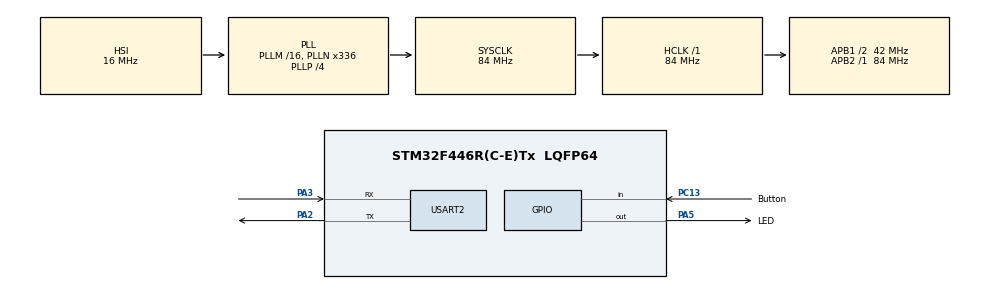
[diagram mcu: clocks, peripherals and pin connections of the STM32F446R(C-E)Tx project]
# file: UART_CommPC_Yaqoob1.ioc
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Dma.Request0=USART2_RX
Dma.USART2_RX.0.Direction=DMA_PERIPH_TO_MEMORY
Dma.USART2_RX.0.FIFOMode=DMA_FIFOMODE_DISABLE
Dma.USART2_RX.0.Instance=DMA1_Stream5
Dma.USART2_RX.0.MemDataAlignment=DMA_MDATAALIGN_BYTE
Dma.USART2_RX.0.MemInc=DMA_MINC_ENABLE
Dma.USART2_RX.0.Mode=DMA_NORMAL
Dma.USART2_RX.0.PeriphDataAlignment=DMA_PDATAALIGN_BYTE
Dma.USART2_RX.0.PeriphInc=DMA_PINC_DISABLE
Dma.USART2_RX.0.Priority=DMA_PRIORITY_LOW
Mcu.Family=STM32F4
Mcu.Name=STM32F446R(C-E)Tx
Mcu.Package=LQFP64
NVIC.DMA1_Stream5_IRQn=true\:0\:0\:false\:false\:true\:false\:true
NVIC.PriorityGroup=NVIC_PRIORITYGROUP_0
PA2.Mode=Asynchronous
PA2.Signal=USART2_TX
PA3.Mode=Asynchronous
PA3.Signal=USART2_RX
PA5.GPIO_Label=LED
PA5.Signal=GPIO_Output
PC13.GPIO_Label=Button
PC13.Signal=GPIO_Input
ProjectManager.HeapSize=0x200
ProjectManager.StackSize=0x400
ProjectManager.TargetToolchain=STM32CubeIDE
RCC.AHBFreq_Value=84000000
RCC.APB1CLKDivider=RCC_HCLK_DIV2
RCC.APB1Freq_Value=42000000
RCC.APB1TimFreq_Value=84000000
RCC.APB2Freq_Value=84000000
RCC.APB2TimFreq_Value=84000000
RCC.CortexFreq_Value=84000000
RCC.FLatency-AdvancedSettings=FLASH_LATENCY_2
RCC.HCLKFreq_Value=84000000
RCC.HSE_VALUE=8000000
RCC.HSI_VALUE=16000000
RCC.LSE_VALUE=32768
RCC.PLLN=336
RCC.PLLP=RCC_PLLP_DIV4
RCC.SYSCLKFreq_VALUE=84000000
RCC.SYSCLKSource=RCC_SYSCLKSOURCE_PLLCLK
RCC.USBFreq_Value=168000000
RCC.VCOOutputFreq_Value=336000000
USART2.VirtualMode=VM_ASYNC
board=NUCLEO-F446RE

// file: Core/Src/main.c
/* USER CODE BEGIN Header */
/**
  ******************************************************************************
  * @file           : main.c
  * @brief          : Main program body
  ******************************************************************************
  * @attention
  *
  * <h2><center>&copy; Copyright (c) 2020 STMicroelectronics.
  * All rights reserved.</center></h2>
  *
  * This software component is licensed by ST under BSD 3-Clause license,
  * the "License"; You may not use this file except in compliance with the
  * License. You may obtain a copy of the License at:
  *                        opensource.org/licenses/BSD-3-Clause
  *
  ******************************************************************************
  */
/* USER CODE END Header */

#include "main.h"

/* USER CODE BEGIN Includes */
#include <stdio.h>  //printf
#include <string.h>
/* USER CODE END Includes */

/* USER CODE BEGIN PTD */
#ifdef __GNUC__
  /* With GCC, small printf (option LD Linker->Libraries->Small printf
     set to 'Yes') calls __io_putchar() */
  #define PUTCHAR_PROTOTYPE int __io_putchar(int ch)
#else
  #define PUTCHAR_PROTOTYPE int fputc(int ch, FILE *f)
#endif /* __GNUC__ */
/* USER CODE END PTD */

UART_HandleTypeDef huart2;
DMA_HandleTypeDef hdma_usart2_rx;

void SystemClock_Config(void);
static void MX_GPIO_Init(void);
static void MX_DMA_Init(void);
static void MX_USART2_UART_Init(void);

/* USER CODE BEGIN 0 */
char rxBuf[25];

/* USER CODE END 0 */

int main(void)
{

  /* MCU Configuration--------------------------------------------------------*/

  /* Reset of all peripherals, Initializes the Flash interface and the Systick. */
  HAL_Init();

  /* Configure the system clock */
  SystemClock_Config();

  /* Initialize all configured peripherals */
  MX_GPIO_Init();
  MX_DMA_Init();
  MX_USART2_UART_Init();
  /* USER CODE BEGIN 2 */
  printf("Starting my application...\r\n");

  //** Fixed size command of 3 bytes *[]#, Initialise
  //Handles received data
  	HAL_UART_Receive_DMA(&huart2, (uint8_t *)rxBuf, 3);
  /* USER CODE END 2 */

  /* Infinite loop */
  while (1)
  {

  }
}

void SystemClock_Config(void)
{
  RCC_OscInitTypeDef RCC_OscInitStruct = {0};
  RCC_ClkInitTypeDef RCC_ClkInitStruct = {0};

  /** Configure the main internal regulator output voltage
  */
  __HAL_RCC_PWR_CLK_ENABLE();
  __HAL_PWR_VOLTAGESCALING_CONFIG(PWR_REGULATOR_VOLTAGE_SCALE3);
  /** Initializes the CPU, AHB and APB busses clocks
  */
  RCC_OscInitStruct.OscillatorType = RCC_OSCILLATORTYPE_HSI;
  RCC_OscInitStruct.HSIState = RCC_HSI_ON;
  RCC_OscInitStruct.HSICalibrationValue = RCC_HSICALIBRATION_DEFAULT;
  RCC_OscInitStruct.PLL.PLLState = RCC_PLL_ON;
  RCC_OscInitStruct.PLL.PLLSource = RCC_PLLSOURCE_HSI;
  RCC_OscInitStruct.PLL.PLLM = 16;
  RCC_OscInitStruct.PLL.PLLN = 336;
  RCC_OscInitStruct.PLL.PLLP = RCC_PLLP_DIV4;
  RCC_OscInitStruct.PLL.PLLQ = 2;
  RCC_OscInitStruct.PLL.PLLR = 2;
  if (HAL_RCC_OscConfig(&RCC_OscInitStruct) != HAL_OK)
  {
    Error_Handler();
  }
  /** Initializes the CPU, AHB and APB busses clocks
  */
  RCC_ClkInitStruct.ClockType = RCC_CLOCKTYPE_HCLK|RCC_CLOCKTYPE_SYSCLK
                              |RCC_CLOCKTYPE_PCLK1|RCC_CLOCKTYPE_PCLK2;
  RCC_ClkInitStruct.SYSCLKSource = RCC_SYSCLKSOURCE_PLLCLK;
  RCC_ClkInitStruct.AHBCLKDivider = RCC_SYSCLK_DIV1;
  RCC_ClkInitStruct.APB1CLKDivider = RCC_HCLK_DIV2;
  RCC_ClkInitStruct.APB2CLKDivider = RCC_HCLK_DIV1;

  if (HAL_RCC_ClockConfig(&RCC_ClkInitStruct, FLASH_LATENCY_2) != HAL_OK)
  {
    Error_Handler();
  }
}

static void MX_USART2_UART_Init(void)
{

  huart2.Instance = USART2;
  huart2.Init.BaudRate = 115200;
  huart2.Init.WordLength = UART_WORDLENGTH_8B;
  huart2.Init.StopBits = UART_STOPBITS_1;
  huart2.Init.Parity = UART_PARITY_NONE;
  huart2.Init.Mode = UART_MODE_TX_RX;
  huart2.Init.HwFlowCtl = UART_HWCONTROL_NONE;
  huart2.Init.OverSampling = UART_OVERSAMPLING_16;
  if (HAL_UART_Init(&huart2) != HAL_OK)
  {
    Error_Handler();
  }

}

static void MX_DMA_Init(void)
{

  /* DMA controller clock enable */
  __HAL_RCC_DMA1_CLK_ENABLE();

  /* DMA interrupt init */
  /* DMA1_Stream5_IRQn interrupt configuration */
  HAL_NVIC_SetPriority(DMA1_Stream5_IRQn, 0, 0);
  HAL_NVIC_EnableIRQ(DMA1_Stream5_IRQn);

}

static void MX_GPIO_Init(void)
{
  GPIO_InitTypeDef GPIO_InitStruct = {0};

  /* GPIO Ports Clock Enable */
  __HAL_RCC_GPIOC_CLK_ENABLE();
  __HAL_RCC_GPIOA_CLK_ENABLE();

  /*Configure GPIO pin Output Level */
  HAL_GPIO_WritePin(LED_GPIO_Port, LED_Pin, GPIO_PIN_RESET);

  /*Configure GPIO pin : Button_Pin */
  GPIO_InitStruct.Pin = Button_Pin;
  GPIO_InitStruct.Mode = GPIO_MODE_INPUT;
  GPIO_InitStruct.Pull = GPIO_NOPULL;
  HAL_GPIO_Init(Button_GPIO_Port, &GPIO_InitStruct);

  /*Configure GPIO pin : LED_Pin */
  GPIO_InitStruct.Pin = LED_Pin;
  GPIO_InitStruct.Mode = GPIO_MODE_OUTPUT_PP;
  GPIO_InitStruct.Pull = GPIO_NOPULL;
  GPIO_InitStruct.Speed = GPIO_SPEED_FREQ_LOW;
  HAL_GPIO_Init(LED_GPIO_Port, &GPIO_InitStruct);

}

/* USER CODE BEGIN 4 */
//just use printf to transmit data
PUTCHAR_PROTOTYPE
{
  /* Place your implementation of fputc here */
  /* e.g. write a character to the EVAL_COM1 and Loop until the end of transmission */
  HAL_UART_Transmit(&huart2, (uint8_t *)&ch, 1, 0xFFFF);

  return ch;
}

void HAL_UART_RxCpltCallback(UART_HandleTypeDef *huart)
{
  /* Prevent unused argument(s) compilation warning */
  UNUSED(huart);
  /* NOTE: This function should not be modified, when the callback is needed,
           the HAL_UART_RxCpltCallback could be implemented in the user file
   */

  //Check the command msg
  //format: *val#
  //'*' = 42 in ascii
  //'#' = 35 in ascii
  if(rxBuf[0] == '*' && rxBuf[2] == '#') //a valid command
  {
	  //LED OFF
	  if(rxBuf[1] == 0){
		  HAL_GPIO_WritePin(LED_GPIO_Port,LED_Pin,GPIO_PIN_RESET);
		  printf("LED Turn OFF\r\n");
	  }
	  else if(rxBuf[1] == 1){
		  HAL_GPIO_WritePin(LED_GPIO_Port,LED_Pin,GPIO_PIN_SET);
		  printf("LED Turn ON\r\n");
	  }
	  else{
		  printf("Invalid command\r\n");
	  }

  }
  HAL_UART_Receive_DMA(&huart2,(uint8_t *)rxBuf,3); //listen for another message
}
/* USER CODE END 4 */

void Error_Handler(void)
{
}

/************************ (C) COPYRIGHT STMicroelectronics *****END OF FILE****/
